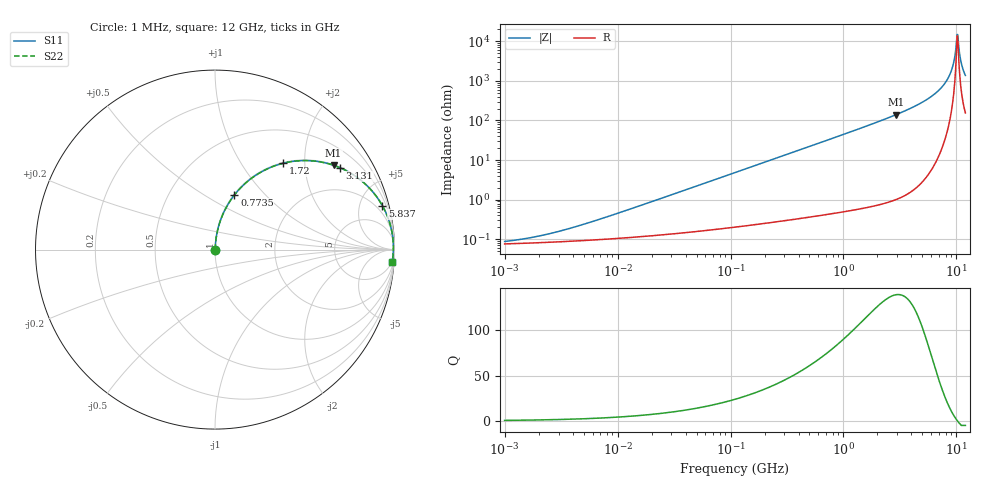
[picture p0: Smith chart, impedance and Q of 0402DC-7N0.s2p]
# MHz  S  MA  R  50
!Freq  MagS11  AngS11  MagS21  AngS21  MagS12  AngS12  MagS22  AngS22
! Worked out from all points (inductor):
!   801 points, 1 MHz to 12 GHz, reference 50 ohm
!   read as one part in series: L = 7 nH near 6.71 MHz
!   highest Q = 139 at 2.918 GHz (marker M1), where L = 7.62 nH
!   self-resonance near 10.14 GHz
!   S11 on the Smith chart (normalised r, x): 1 MHz: 1.00, +0.00; 773.5 MHz: 1.01, +0.68; 1.72 GHz: 1.01, +1.56; 3.131 GHz: 1.02, +3.04; 5.837 GHz: 1.10, +7.63; 12 GHz: 4, -27
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1  0.00088 29.9  0.9992 -0.0  0.9992 -0.0  0.00088 29.9
2.121332  0.001244 48.5  0.9992 -0.1  0.9992 -0.1  0.001244 48.5
4.828773  0.002313 66.4  0.9991 -0.1  0.9991 -0.1  0.002313 66.4
23.04466  0.0102 82.3  0.9987 -0.6  0.9987 -0.6  0.0102 82.3
109.9775  0.04826 84.8  0.9968 -2.8  0.9968 -2.8  0.04826 84.8
524.8526  0.2247 76.1  0.9708 -13.0  0.9708 -13.0  0.2247 76.1
773.4726  0.3225 70.5  0.9425 -18.8  0.9425 -18.8  0.3225 70.5
1153.336  0.4552 62.3  0.8857 -27.1  0.8857 -27.1  0.4552 62.3
1719.755  0.6118 51.8  0.7858 -37.7  0.7858 -37.7  0.6118 51.8
2534.394  0.7623 39.9  0.6416 -49.7  0.6416 -49.7  0.7623 39.9
2918.188  0.8106 35.4  0.5798 -54.2  0.5798 -54.2  0.8106 35.4
3131.359  0.8328 33.2  0.5477 -56.4  0.5477 -56.4  0.8328 33.2
4402.784  0.9192 22.7  0.3862 -66.8  0.3862 -66.8  0.9192 22.7
5837.213  0.9643 14.6  0.2526 -74.6  0.2526 -74.6  0.9643 14.6
7212.142  0.984 8.9  0.1552 -79.6  0.1552 -79.6  0.984 8.9
8402.463  0.9916 4.9  0.08639 -82.0  0.08639 -82.0  0.9916 4.9
9230.659  0.9937 2.5  0.04468 -80.6  0.04468 -80.6  0.9937 2.5
9904.949  0.994 0.7  0.01436 -64.9  0.01436 -64.9  0.994 0.7
10140.49  0.9938 0.2  0.006713 -23.3  0.006713 -23.3  0.9938 0.2
10504.33  0.9934 -0.7  0.01448 62.5  0.01448 62.5  0.9934 -0.7
11271.67  0.9917 -2.5  0.04473 78.0  0.04473 78.0  0.9917 -2.5
12000  0.9892 -4.1  0.0723 79.4  0.0723 79.4  0.9892 -4.1
